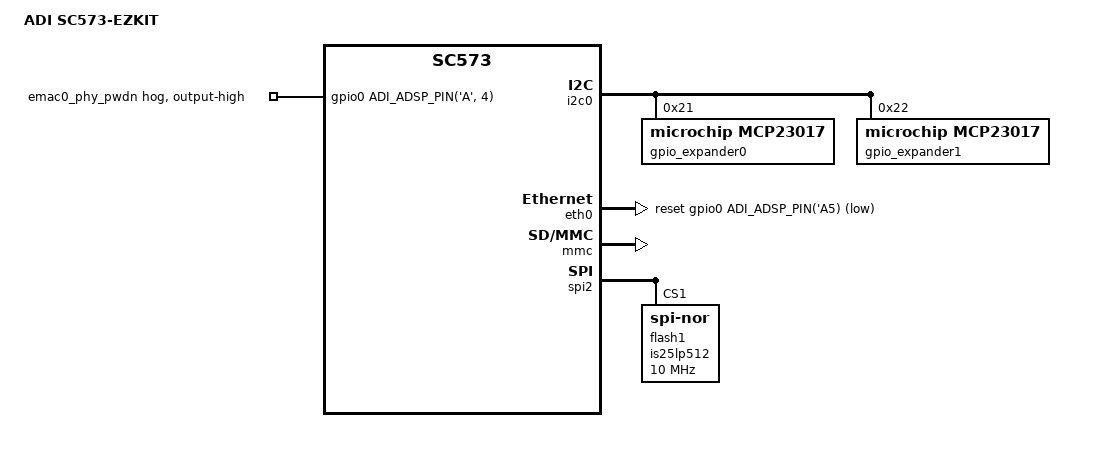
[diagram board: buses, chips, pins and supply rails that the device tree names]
// SPDX-License-Identifier: GPL-2.0-or-later
/*
 * (C) Copyright 2024 - Analog Devices, Inc.
 */

/dts-v1/;

#include "sc5xx.dtsi"
#include "sc57x.dtsi"

/ {
	model = "ADI SC573-EZKIT";
	compatible = "adi,sc573-ezkit", "adi,sc57x";
};

&i2c0 {
	gpio_expander0: mcp23017@21 {
		compatible = "microchip,mcp23017";
		reg = <0x21>;
		gpio-controller;
		#gpio-cells = <2>;
		bootph-pre-ram;

		eeprom {
			gpio-hog;
			gpios = <0 GPIO_ACTIVE_LOW>;
			output-low;
			line-name = "eeprom-en";
			bootph-pre-ram;
		};

		uart0-flow-en {
			gpio-hog;
			gpios = <1 GPIO_ACTIVE_LOW>;
			output-low;
			line-name = "uart0-flow-en";
			bootph-pre-ram;
		};

		mlb {
			gpio-hog;
			gpios = <5 GPIO_ACTIVE_LOW>;
			output-low;
			line-name = "mlb-en";
			bootph-pre-ram;
		};

		can0 {
			gpio-hog;
			gpios = <6 GPIO_ACTIVE_LOW>;
			output-low;
			line-name = "can0-en";
			bootph-pre-ram;
		};

		can1 {
			gpio-hog;
			gpios = <7 GPIO_ACTIVE_LOW>;
			output-low;
			line-name = "can1-en";
			bootph-pre-ram;
		};

		adau1962 {
			gpio-hog;
			gpios = <8 GPIO_ACTIVE_LOW>;
			output-high;
			line-name = "adau1962-en";
			bootph-pre-ram;
		};

		adau1979 {
			gpio-hog;
			gpios = <9 GPIO_ACTIVE_LOW>;
			output-high;
			line-name = "adau1979-en";
			bootph-pre-ram;
		};

		sd-wp-en {
			gpio-hog;
			gpios = <11 GPIO_ACTIVE_LOW>;
			output-low;
			line-name = "sd-wp-en";
			bootph-pre-ram;
		};

		spi2flash-cs {
			gpio-hog;
			gpios = <12 GPIO_ACTIVE_LOW>;
			output-high;
			line-name = "spi2flash-cs";
			bootph-pre-ram;
		};

		spi2d2-d3 {
			gpio-hog;
			gpios = <13 GPIO_ACTIVE_LOW>;
			output-high;
			line-name = "spi2d2-d3-en";
			bootph-pre-ram;
		};

		spdif-opt {
			gpio-hog;
			gpios = <14 GPIO_ACTIVE_LOW>;
			output-low;
			line-name = "spdif-optical-en";
			bootph-pre-ram;
		};

		spdif-dig {
			gpio-hog;
			gpios = <15 GPIO_ACTIVE_LOW>;
			output-low;
			line-name = "spdif-digital-en";
			bootph-pre-ram;
		};
	};

	gpio_expander1: mcp23017@22 {
		compatible = "microchip,mcp23017";
		reg = <0x22>;
		gpio-controller;
		#gpio-cells = <2>;
		bootph-pre-ram;

		pushbutton3 {
			gpio-hog;
			gpios = <0 GPIO_ACTIVE_LOW>;
			output-low;
			line-name = "pushbutton3-en";
			bootph-pre-ram;
		};

		pushbutton2 {
			gpio-hog;
			gpios = <1 GPIO_ACTIVE_LOW>;
			output-low;
			line-name = "pushbutton2-en";
			bootph-pre-ram;
		};

		pushbutton1 {
			gpio-hog;
			gpios = <2 GPIO_ACTIVE_LOW>;
			output-low;
			line-name = "pushbutton1-en";
			bootph-pre-ram;
		};

		leds {
			gpio-hog;
			gpios = <3 GPIO_ACTIVE_LOW>;
			output-low;
			line-name = "leds-en";
			bootph-pre-ram;
		};

		flg0 {
			gpio-hog;
			gpios = <4 GPIO_ACTIVE_LOW>;
			output-low;
			line-name = "flg0_loop";
			bootph-pre-ram;
		};

		flg1 {
			gpio-hog;
			gpios = <5 GPIO_ACTIVE_LOW>;
			output-low;
			line-name = "flg1_loop";
			bootph-pre-ram;
		};

		flg2 {
			gpio-hog;
			gpios = <6 GPIO_ACTIVE_LOW>;
			output-low;
			line-name = "flg2_loop";
			bootph-pre-ram;
		};

		flg3 {
			gpio-hog;
			gpios = <7 GPIO_ACTIVE_LOW>;
			output-low;
			line-name = "flg3_loop";
			bootph-pre-ram;
		};

		adau1977 {
			gpio-hog;
			gpios = <8 GPIO_ACTIVE_LOW>;
			output-low;
			line-name = "adau1977_en";
			bootph-pre-ram;
		};

		adau1977_fault_rst {
			gpio-hog;
			gpios = <9 GPIO_ACTIVE_LOW>;
			output-low;
			line-name = "adau1977_fault_rst_en";
			bootph-pre-ram;
		};

		thumbwheel {
			gpio-hog;
			gpios = <10 GPIO_ACTIVE_LOW>;
			output-low;
			line-name = "thumbwheel_oe";
			bootph-pre-ram;
		};

		engine_rpm {
			gpio-hog;
			gpios = <11 GPIO_ACTIVE_LOW>;
			output-low;
			line-name = "engine_rpm_oe";
			bootph-pre-ram;
		};
	};
};

&eth0 {
	snps,reset-gpio = <&gpio0 ADI_ADSP_PIN('A', 5) GPIO_ACTIVE_LOW>;
};

&gpio0 {
	emac0_phy_pwdn {
		gpio-hog;
		output-high;
		gpios = <ADI_ADSP_PIN('A', 4) GPIO_ACTIVE_HIGH>;
	};
};

&mmc {
	status = "okay";
};

&spi2 {
	flash1: is25lp512@1 {
		#address-cells = <1>;
		#size-cells = <1>;
		compatible = "jedec,spi-nor", "is25lp512";
		reg = <1>;
		spi-tx-bus-width = <4>;
		spi-rx-bus-width = <4>;
		spi-max-frequency = <10000000>;
		bootph-pre-ram;
	};
};
